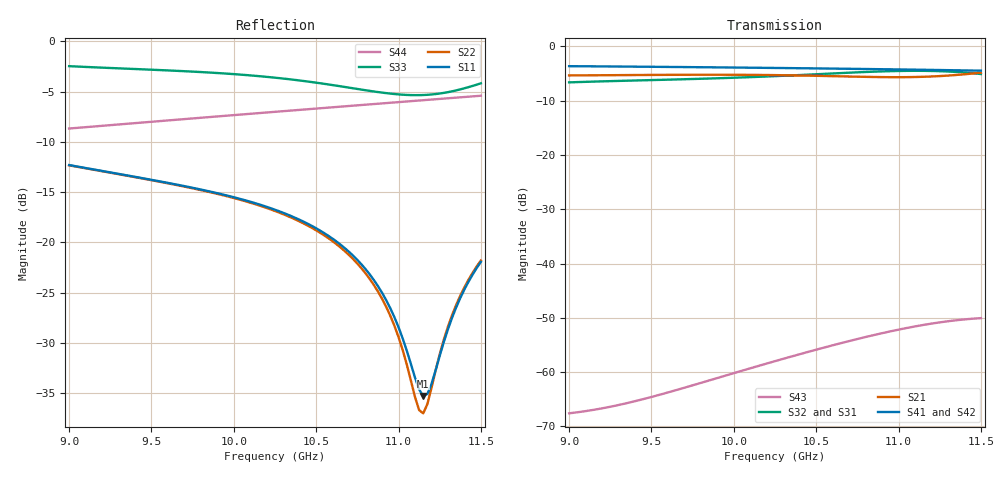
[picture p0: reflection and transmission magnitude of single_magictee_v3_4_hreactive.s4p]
! Touchstone file exported from HFSS 2025.2.4
!  File:  //wsl.localhost/Ubuntu/tmp/hfss-r11/hfss/output_v3_4_jacobian/h_throat_a_minus/single_magictee_v3_4_hreactive.aedt
!  Generated:  02:59:36 PM Sep 22, 2026
!  Design:  SingleMagicT_v3_4_HReactiveCell
!  Project:  single_magictee_v3_4_hreactive
! Variables:
!  f_adapt = 10.2GHz
!  h_cap_height = 9mm
!  h_cap_len = 2.5mm
!  h_terminal_ridge_w = 4.572mm
!  h_throat_a = 20mm
!  h_throat_len = 5.5mm
!  ridge_g1 = 7.672mm
!  ridge_g2 = 5.8mm
!  ridge_l1 = 9.872mm
!  ridge_l2 = 8.857mm
!  ridge_w = 4.572mm
!  terminal_ridge_len = 7.5mm
!  wg_a = 22.86mm
!  wg_b = 10.16mm
!Data is not renormalized
# GHz S MA
! Terminal data exported
! Port[1] = P1_CollinearMinusX
! Port[2] = P2_CollinearPlusX
! Port[3] = P3_HArm_Ridged
! Port[4] = P4_EArm
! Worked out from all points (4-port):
!   101 points, 9 GHz to 11.5 GHz, reference per port
!   strongest paths, dB at 9 GHz, 9.625 GHz, 10.25 GHz, 10.88 GHz, 11.5 GHz:
!     S41: -3.6, -3.8, -4.0, -4.2, -4.5
!     S42: -3.6, -3.8, -4.0, -4.2, -4.5
!     S21: -5.3, -5.2, -5.3, -5.6, -4.8
!     S32: -6.6, -6.1, -5.5, -4.6, -5.1
!     S31: -6.6, -6.1, -5.5, -4.6, -5.1
!     S43: -67.6, -63.5, -58.0, -53.0, -50.0
!   lowest |S11| = -35.3 dB at 11.15 GHz (marker M1), VSWR 1.04
!   |S11| at or under -10 dB: start of sweep to end of sweep
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9  0.2423 151.1  0.5403 -174.2  0.4661 63.5  0.6574 46.2
   0.5403 -174.2  0.2416 151.0  0.4663 63.4  0.6575 -133.8
   0.4661 63.5  0.4663 63.4  0.7518 131.7  0.000418 124.1
   0.6574 46.2  0.6575 -133.8  0.000418 124.1  0.3682 -115.4
9.325  0.2173 114.5  0.5439 149.6  0.4816 18.7  0.6519 9.0
       0.5439 149.6  0.2165 114.5  0.4819 18.6  0.652 -171.0
       0.4816 18.7  0.4819 18.6  0.732 77.5  0.0005082 88.1
       0.6519 9.0  0.652 -171.0  0.0005082 88.1  0.3872 -150.5
9.725  0.1886 70.0  0.5478 106.3  0.4991 -35.3  0.6444 -35.3
       0.5478 106.3  0.1875 70.0  0.4995 -35.4  0.6444 144.7
       0.4991 -35.3  0.4995 -35.4  0.7081 12.0  0.0007378 40.4
       0.6444 -35.3  0.6444 144.7  0.0007378 40.4  0.4117 167.3
10.325  0.1377 1.3  0.5418 43.8  0.5377 -115.8  0.6312 -99.5
        0.5418 43.8  0.1354 1.2  0.5383 -116.0  0.6311 80.4
        0.5377 -115.8  0.5383 -116.0  0.649 -87.4  0.00136 -43.1
        0.6312 -99.5  0.6311 80.4  0.00136 -43.1  0.4508 105.3
10.775  0.07773 -51.1  0.525 0.5  0.5782 -179.1  0.6197 -146.4
        0.525 0.5  0.07434 -51.9  0.5789 -179.4  0.6194 33.5
        0.5782 -179.1  0.5789 -179.4  0.575 -173.0  0.002063 -113.3
        0.6197 -146.4  0.6194 33.5  0.002063 -113.3  0.4819 59.5
11.15  0.01723 -32.3  0.5248 -31.4  0.5946 123.6  0.6089 175.0
       0.5248 -31.4  0.01413 -20.6  0.5953 123.3  0.6082 -5.0
       0.5946 123.6  0.5953 123.3  0.5404 98.2  0.002721 -176.7
       0.6089 175.0  0.6082 -5.0  0.002721 -176.7  0.5093 21.5
11.5  0.07996 -2.5  0.5727 -60.2  0.5557 66.7  0.5974 139.3
      0.5727 -60.2  0.08128 0.6  0.5564 66.3  0.5965 -40.8
      0.5557 66.7  0.5564 66.3  0.6178 6.8  0.003146 121.5
      0.5974 139.3  0.5965 -40.8  0.003146 121.5  0.536 -13.8
